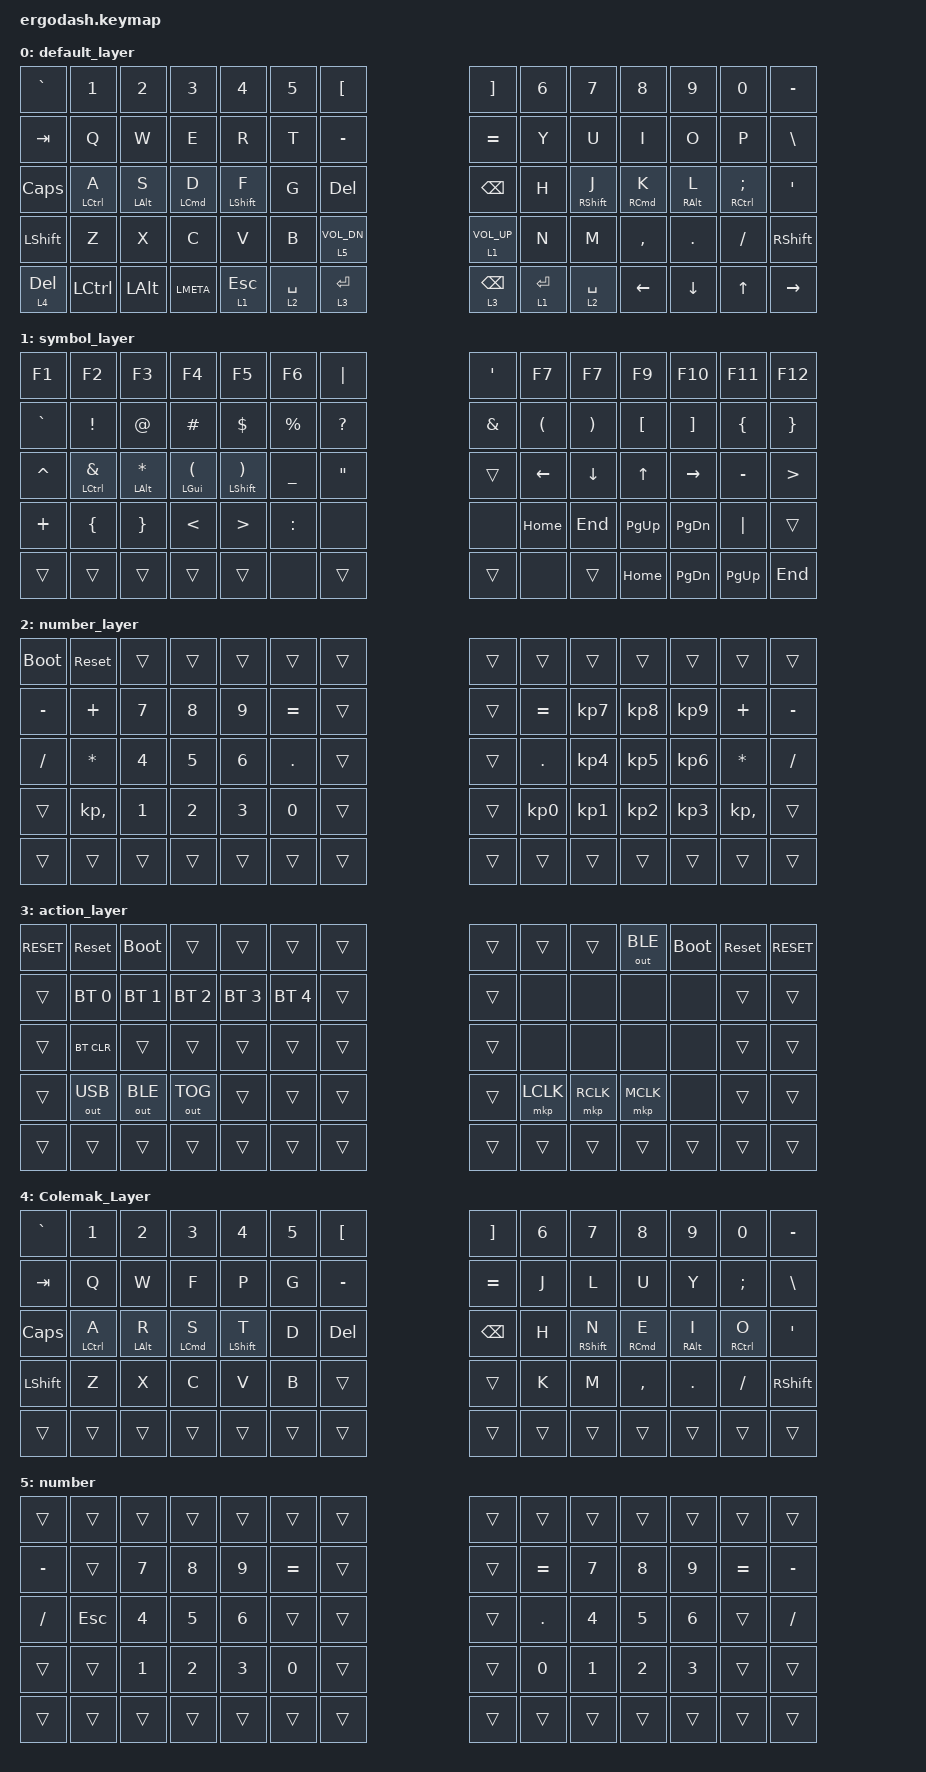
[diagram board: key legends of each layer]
/*
 * Copyright (c) 2020 The ZMK Contributors
 *
 * SPDX-License-Identifier: MIT
 */

#include <dt-bindings/zmk/mouse.h>
#include <behaviors.dtsi>
#include <dt-bindings/zmk/bt.h>
#include <dt-bindings/zmk/keys.h>
#include <dt-bindings/zmk/outputs.h>
#include <dt-bindings/zmk/pointing.h>

#define DEFAULT 0
#define LOWER   1
#define RAISE   2
#define TRI     3
#define NUM     4

/ {
    combos {
        compatible = "zmk,combos";

        Left_Bracket {
            bindings = <&kp LEFT_BRACKET>;
            key-positions = <18 17>;
        };

        Right_Bracket {
            bindings = <&kp RIGHT_BRACKET>;
            key-positions = <23 24>;
        };

        Left_Parenthesis {
            bindings = <&kp LEFT_PARENTHESIS>;
            key-positions = <17 16>;
        };

        Right_Parentheisis {
            bindings = <&kp RIGHT_PARENTHESIS>;
            key-positions = <24 25>;
        };

        Left_Brace {
            bindings = <&kp LEFT_BRACE>;
            key-positions = <16 15>;
        };

        Right_Brace {
            bindings = <&kp RIGHT_BRACE>;
            key-positions = <26 25>;
        };

        Pipe {
            bindings = <&kp PIPE>;
            key-positions = <51 52>;
        };

        Backslash {
            bindings = <&kp BACKSLASH>;
            key-positions = <52 53>;
        };

        Plus {
            bindings = <&kp PLUS>;
            key-positions = <18 23>;
        };

        Minus {
            bindings = <&kp MINUS>;
            key-positions = <17 24>;
        };

        Asterisk {
            bindings = <&kp ASTERISK>;
            key-positions = <19 22>;
        };

        Equal {
            bindings = <&kp EQUAL>;
            key-positions = <25 16>;
        };

        Dollar {
            bindings = <&kp DOLLAR>;
            key-positions = <47 50>;
        };

        Ampersand {
            bindings = <&kp AMPERSAND>;
            key-positions = <46 51>;
        };

        Equal2 {
            bindings = <&kp EQUAL>;
            key-positions = <33 36>;
        };
    };

    keymap {
        compatible = "zmk,keymap";

        default_layer {
            /* QWERTY
 * .----------------------------------------------------------------------------------------------------------------------.
 * |  `   |   1  |   2  |   3  |   4  |   5  |  [   |                    |  ]   |   6  |   7  |   8  |   9  |   0  | PScr |
 * |------+------+------+------+------+------+------+--------------------+------+------+------+------+------+------+------|
 * | ESC  |   Q  |   W  |   E  |   R  |   T  |  -   |                    |  =   |   Y  |   U  |   I  |   O  |   P  |  \   |
 * |------+------+------+------+------+------+------+--------------------+------+------+------+------+------+------+------|
 * | Tab  |   A  |   S  |   D  |   F  |   G  | Del  |                    | Bksp |   H  |   J  |   K  |   L  |   ;  |  '   |
 * |------+------+------+------+------+------+---------------------------+------+------+------+------+------+------+------|
 * | Shift|   Z  |   X  |   C  |   V  |   B  | End  |                    | Home |   N  |   M  |   ,  |   .  |   /  | Shift|
 * |-------------+------+------+------+------+------+------+------+------+------+------+------+------+------+-------------|
 * | Ctrl |      | PGDN | Win  |||||||| Alt  | Space| Lower|||||||| Raise| Enter| RAlt ||||||||      | PGUP | Ins  | RCtrl|
 * .----------------------------------------------------------------------------------------------------------------------.
 */

            bindings = <
&kp GRAVE     &kp N1              &kp N2      &kp N3              &kp N4        &kp N5  &kp LBKT                                      &kp RBKT     &kp N6  &kp N7        &kp N8               &kp N9          &kp N0                  &kp MINUS
&kp TAB       &kp Q               &kp W       &kp E               &kp R         &kp T   &kp MINUS                                     &kp EQUAL    &kp Y   &kp U         &kp I                &kp O           &kp P                   &kp BSLH
&kp CAPSLOCK  &mt LEFT_CONTROL A  &mt LALT S  &mt LEFT_COMMAND D  &mt LSHIFT F  &kp G   &kp DEL                                       &kp BSPC     &kp H   &mt RSHIFT J  &mt RIGHT_COMMAND K  &mt RALT L      &mt RIGHT_CONTROL SEMI  &kp SQT
&kp LSHFT     &kp Z               &kp X       &kp C               &kp V         &kp B                &lt 5 C_VOL_DN  &lt 1 C_VOL_UP                &kp N   &kp M         &kp COMMA            &kp DOT         &kp SLASH               &kp RSHFT
&lt 4 DEL     &kp LCTRL           &kp LALT    &kp LMETA           &lt 1 ESC             &lt 2 SPACE  &lt 3 ENTER     &lt 3 BACKSPACE  &lt 1 ENTER          &lt 2 SPACE   &kp LEFT_ARROW       &kp DOWN_ARROW  &kp UP_ARROW            &kp RIGHT_ARROW
            >;
        };

        symbol_layer {
            /* .----------------------------------------------------------------------------------------------------------------------.
 * |  F11 |  F1  |  F2  |  F3  |  F4  |  F5  |      |                    |      |  F6  |  F7  |  F8  |  F9  |  F10 |  F12 |
 * |------+------+------+------+------+------+------+--------------------+------+------+------+------+------+------+------|
 * |      |      |      |      |      |      |      |                    |      |      |      |      |      |      |      |
 * |------+------+------+------+------+------+------+--------------------+------+------+------+------+------+------+------|
 * |      |      |      |      |      |      |      |                    |      |      |      |      |      |      |      |
 * |------+------+------+------+------+------+---------------------------+------+------+------+------+------+------+------|
 * | Shift| Boot | Reset|      |      |      |      |                    |      |      |      |      |      |      | Shift|
 * |-------------+------+------+------+------+------+------+------+------+------+------+------+------+------+-------------|
 * | Ctlr |      |      |  Win |||||||| Alt  |      | Lower|||||||| Raise|      | RAlt ||||||||      |      |      | RCtrl|
 * .----------------------------------------------------------------------------------------------------------------------.
 */ /* FIXME boot and reset are not yet locale aware */
            bindings = <
&kp F1     &kp F2                 &kp F3                 &kp F4                         &kp F5                            &kp F6          &kp PIPE                           &kp SINGLE_QUOTE  &kp F7                &kp F7                 &kp F9            &kp F10            &kp F11         &kp F12
&kp GRAVE  &kp EXCLAMATION        &kp AT_SIGN            &kp HASH                       &kp DOLLAR                        &kp PERCENT     &kp QUESTION                       &kp AMPERSAND     &kp LEFT_PARENTHESIS  &kp RIGHT_PARENTHESIS  &kp LEFT_BRACKET  &kp RIGHT_BRACKET  &kp LEFT_BRACE  &kp RIGHT_BRACE
&kp CARET  &mt LEFT_CONTROL AMPS  &mt LEFT_ALT ASTERISK  &mt LEFT_GUI LEFT_PARENTHESIS  &mt LEFT_SHIFT RIGHT_PARENTHESIS  &kp UNDERSCORE  &kp DOUBLE_QUOTES                  &trans            &kp LEFT_ARROW        &kp DOWN_ARROW         &kp UP_ARROW      &kp RIGHT_ARROW    &kp MINUS       &kp GREATER_THAN
&kp PLUS   &kp LEFT_BRACE         &kp RIGHT_BRACE        &kp LESS_THAN                  &kp GREATER_THAN                  &kp COLON                          &none   &none                     &kp HOME              &kp END                &kp PAGE_UP       &kp PAGE_DOWN      &kp PIPE        &trans
&trans     &trans                 &trans                 &trans                         &trans                                            &none              &trans  &trans  &none                                   &trans                 &kp HOME          &kp PAGE_DOWN      &kp PAGE_UP     &kp END
            >;
        };

        number_layer {
            bindings = <
&bootloader  &sys_reset    &trans        &trans        &trans        &trans      &trans                  &trans  &trans           &trans           &trans           &trans           &trans        &trans
&kp MINUS    &kp PLUS      &kp N7        &kp N8        &kp N9        &kp EQUAL   &trans                  &trans  &kp EQUAL        &kp KP_NUMBER_7  &kp KP_NUMBER_8  &kp KP_NUMBER_9  &kp PLUS      &kp MINUS
&kp SLASH    &kp ASTERISK  &kp NUMBER_4  &kp N5        &kp NUMBER_6  &kp PERIOD  &trans                  &trans  &kp DOT          &kp KP_NUMBER_4  &kp KP_NUMBER_5  &kp KP_NUMBER_6  &kp ASTERISK  &kp SLASH
&trans       &kp KP_COMMA  &kp NUMBER_1  &kp NUMBER_2  &kp NUMBER_3  &kp N0              &trans  &trans          &kp KP_NUMBER_0  &kp KP_NUMBER_1  &kp KP_NUMBER_2  &kp KP_NUMBER_3  &kp KP_COMMA  &trans
&trans       &trans        &trans        &trans        &trans                    &trans  &trans  &trans  &trans                   &trans           &trans           &trans           &trans        &trans
            >;
        };

        action_layer {
            bindings = <
&kp C_RESET  &sys_reset    &bootloader   &trans        &trans        &trans        &trans                  &trans  &trans     &trans     &out OUT_BLE  &bootloader  &sys_reset  &kp C_RESET
&trans       &bt BT_SEL 0  &bt BT_SEL 1  &bt BT_SEL 2  &bt BT_SEL 3  &bt BT_SEL 4  &trans                  &trans  &none      &none      &none         &none        &trans      &trans
&trans       &bt BT_CLR    &trans        &trans        &trans        &trans        &trans                  &trans  &none      &none      &none         &none        &trans      &trans
&trans       &out OUT_USB  &out OUT_BLE  &out OUT_TOG  &trans        &trans                &trans  &trans          &mkp LCLK  &mkp RCLK  &mkp MCLK     &none        &trans      &trans
&trans       &trans        &trans        &trans        &trans                      &trans  &trans  &trans  &trans             &trans     &trans        &trans       &trans      &trans
            >;
        };

        Colemak_Layer {
            bindings = <
&kp GRAVE  &kp N1              &kp N2          &kp N3              &kp N4            &kp N5  &kp LEFT_BRACKET                  &kp RIGHT_BRACKET  &kp N6  &kp N7             &kp N8               &kp N9           &kp N0               &kp MINUS
&kp TAB    &kp Q               &kp W           &kp F               &kp P             &kp G   &kp MINUS                         &kp EQUAL          &kp J   &kp L              &kp U                &kp Y            &kp SEMI             &kp BSLH
&kp CAPS   &mt LEFT_CONTROL A  &mt LEFT_ALT R  &mt LEFT_COMMAND S  &mt LEFT_SHIFT T  &kp D   &kp DEL                           &kp BACKSPACE      &kp H   &mt RIGHT_SHIFT N  &mt RIGHT_COMMAND E  &mt RIGHT_ALT I  &mt RIGHT_CONTROL O  &kp APOS
&kp LSHFT  &kp Z               &kp X           &kp C               &kp V             &kp B                     &trans  &trans                     &kp K   &kp M              &kp COMMA            &kp DOT          &kp FSLH             &kp RSHFT
&trans     &trans              &trans          &trans              &trans                    &trans            &trans  &trans  &trans                     &trans             &trans               &trans           &trans               &trans
            >;
        };

        number {
            bindings = <
&trans     &trans   &trans  &trans  &trans  &trans     &trans                  &trans  &trans     &trans  &trans  &trans  &trans     &trans
&kp MINUS  &trans   &kp N7  &kp N8  &kp N9  &kp EQUAL  &trans                  &trans  &kp EQUAL  &kp N7  &kp N8  &kp N9  &kp EQUAL  &kp MINUS
&kp FSLH   &kp ESC  &kp N4  &kp N5  &kp N6  &trans     &trans                  &trans  &kp DOT    &kp N4  &kp N5  &kp N6  &trans     &kp FSLH
&trans     &trans   &kp N1  &kp N2  &kp N3  &kp N0             &trans  &trans          &kp N0     &kp N1  &kp N2  &kp N3  &trans     &trans
&trans     &trans   &trans  &trans  &trans             &trans  &trans  &trans  &trans             &trans  &trans  &trans  &trans     &trans
            >;
        };
    };

    conditional_layers { compatible = "zmk,conditional-layers"; };
};
